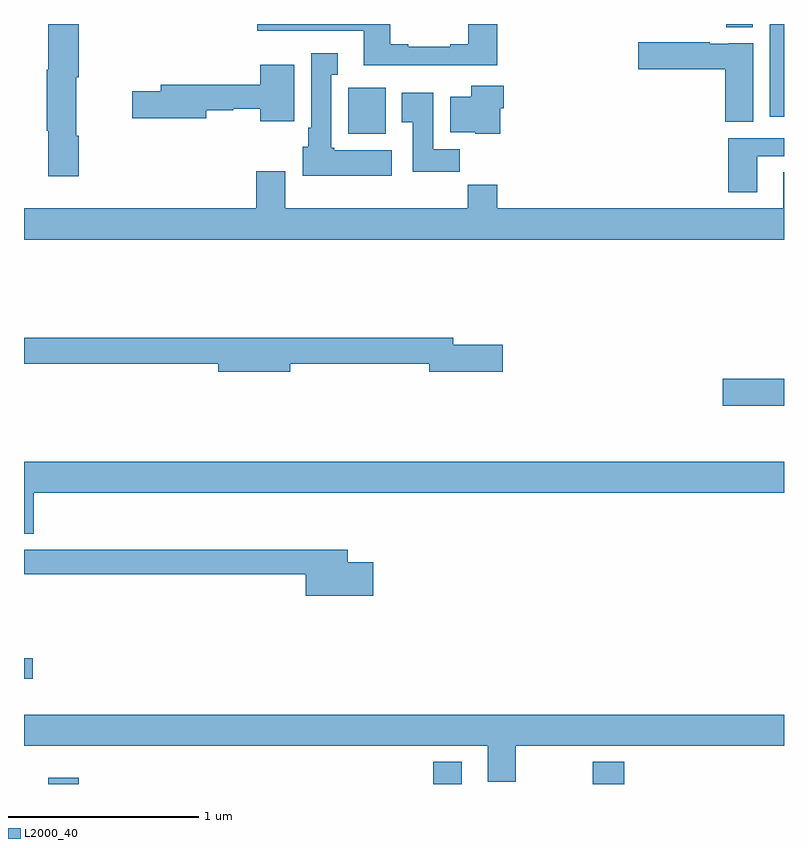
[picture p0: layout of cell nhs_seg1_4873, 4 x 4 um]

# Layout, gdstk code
import gdstk
lib = gdstk.Library(unit=1e-6, precision=1e-09)
def R(c, l, rs):  # rectangles x0, y0, x1, y1
    for r in rs: c.add(gdstk.rectangle(r[:2], r[2:], *l))
def P(c, l, *ps):  # polygons
    for p in ps: c.add(gdstk.Polygon(p, *l))
L2000_40 = (2000, 40)

nhs_seg1_4873 = lib.new_cell('nhs_seg1_4873')
R(nhs_seg1_4873, L2000_40, [(375.128,550.199,375.287,550.231), (377.153,550.199,377.305,550.315), (377.993,550.199,378.16,550.315), (375,550.752,375.046,550.861), (378.678,552.19,379,552.332), (376.706,553.622,376.903,553.864), (378.926,553.712,379,554.199), (378.695,554.183,378.835,554.199)])
P(nhs_seg1_4873, L2000_40, [(375.287,553.61),(375.274,553.61),(375.274,553.92),(375.287,553.92),(375.287,554.199),(375.128,554.199),(375.128,553.958),(375.121,553.958),(375.121,553.636),(375.128,553.636),(375.128,553.398),(375.287,553.398)],
  [(377.492,554.199),(377.339,554.199),(377.339,554.092),(377.243,554.092),(377.243,554.079),(377.023,554.079),(377.023,554.092),(376.927,554.092),(376.927,554.199),(376.227,554.199),(376.227,554.163),(376.787,554.163),(376.787,553.982),(377.492,553.982)],
  [(378.838,554.098),(378.708,554.098),(378.708,554.095),(378.608,554.095),(378.608,554.103),(378.234,554.103),(378.234,553.961),(378.692,553.961),(378.692,553.684),(378.838,553.684)],
  [(376.936,553.534),(376.632,553.534),(376.632,553.548),(376.618,553.548),(376.618,553.931),(376.651,553.931),(376.651,554.044),(376.511,554.044),(376.511,553.654),(376.496,553.654),(376.496,553.554),(376.466,553.554),(376.466,553.4),(376.936,553.4)],
  [(376.423,553.984),(376.244,553.984),(376.244,553.88),(375.719,553.88),(375.719,553.844),(375.57,553.844),(375.57,553.702),(375.958,553.702),(375.958,553.744),(376.101,553.744),(376.101,553.752),(376.244,553.752),(376.244,553.688),(376.423,553.688)],
  [(377.507,553.755),(377.525,553.755),(377.525,553.873),(377.354,553.873),(377.354,553.816),(377.243,553.816),(377.243,553.628),(377.376,553.628),(377.376,553.622),(377.507,553.622)],
  [(377.294,553.54),(377.155,553.54),(377.155,553.837),(376.988,553.837),(376.988,553.681),(377.045,553.681),(377.045,553.422),(377.294,553.422)],
  [(378.859,553.503),(379,553.503),(379,553.599),(378.707,553.599),(378.707,553.314),(378.859,553.314)],
  [(379,553.418),(378.995,553.418),(378.995,553.228),(377.492,553.228),(377.492,553.352),(377.335,553.352),(377.335,553.228),(376.375,553.228),(376.375,553.423),(376.223,553.423),(376.223,553.228),(375,553.228),(375,553.064),(379,553.064)],
  [(376.402,552.412),(377.132,552.412),(377.132,552.37),(377.521,552.37),(377.521,552.512),(377.26,552.512),(377.26,552.548),(375,552.548),(375,552.412),(376.022,552.412),(376.022,552.37),(376.402,552.37)],
  [(375.05,551.732),(379,551.732),(379,551.896),(375,551.896),(375,551.516),(375.05,551.516)],
  [(376.837,551.367),(376.705,551.367),(376.705,551.431),(375,551.431),(375,551.302),(376.484,551.302),(376.484,551.189),(376.837,551.189)],
  [(377.589,550.4),(379,550.4),(379,550.564),(375,550.564),(375,550.4),(377.441,550.4),(377.441,550.21),(377.589,550.21)])

lib.write_gds('nhs_seg1_4873.gds')
